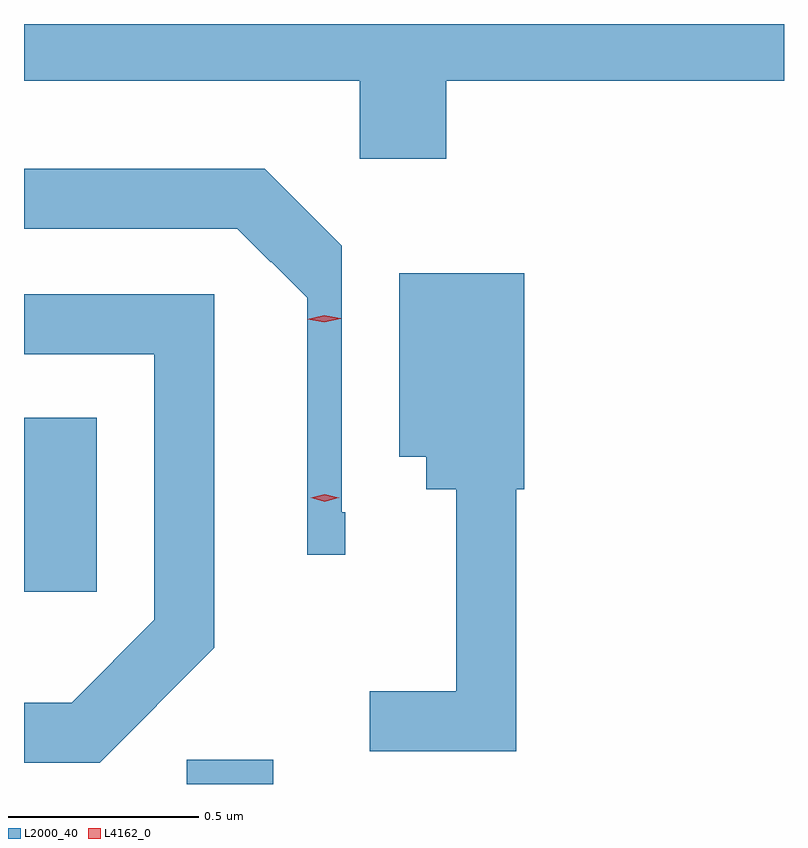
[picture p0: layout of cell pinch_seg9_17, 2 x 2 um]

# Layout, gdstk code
import gdstk
lib = gdstk.Library(unit=1e-6, precision=1e-09)
def R(c, l, rs):  # rectangles x0, y0, x1, y1
    for r in rs: c.add(gdstk.rectangle(r[:2], r[2:], *l))
def P(c, l, *ps):  # polygons
    for p in ps: c.add(gdstk.Polygon(p, *l))
L2000_40 = (2000, 40)
L4162_0 = (4162, 0)

pinch_seg9_17 = lib.new_cell('pinch_seg9_17')
R(pinch_seg9_17, L2000_40, [(1065.266,1965.545,1065.494,1965.609), (1064.838,1966.051,1065.029,1966.509)])
P(pinch_seg9_17, L2000_40, [(1065.949,1967.396),(1066.838,1967.396),(1066.838,1967.545),(1064.838,1967.545),(1064.838,1967.396),(1065.721,1967.396),(1065.721,1967.191),(1065.949,1967.191)],
  [(1065.683,1966.26),(1065.674,1966.26),(1065.674,1966.962),(1065.472,1967.164),(1064.838,1967.164),(1064.838,1967.006),(1065.399,1967.006),(1065.487,1966.918),(1065.488,1966.92),(1065.583,1966.825),(1065.583,1966.148),(1065.683,1966.148)],
  [(1066.134,1966.321),(1066.154,1966.321),(1066.154,1966.889),(1065.826,1966.889),(1065.826,1966.406),(1065.896,1966.406),(1065.896,1966.321),(1065.976,1966.321),(1065.976,1965.789),(1065.748,1965.789),(1065.748,1965.631),(1066.134,1965.631)],
  [(1065.339,1965.904),(1065.339,1966.834),(1064.838,1966.834),(1064.838,1966.676),(1065.181,1966.676),(1065.181,1965.977),(1064.964,1965.759),(1064.838,1965.759),(1064.838,1965.601),(1065.037,1965.601)])
P(pinch_seg9_17, L4162_0, [(1065.628,1966.76),(1065.583,1966.768),(1065.583,1966.768),(1065.583,1966.768),(1065.628,1966.779),(1065.672,1966.771),(1065.672,1966.771),(1065.672,1966.77)],
  [(1065.63,1966.288),(1065.593,1966.298),(1065.592,1966.298),(1065.593,1966.298),(1065.63,1966.308),(1065.666,1966.298),(1065.667,1966.298),(1065.666,1966.298)])

lib.write_gds('pinch_seg9_17.gds')
